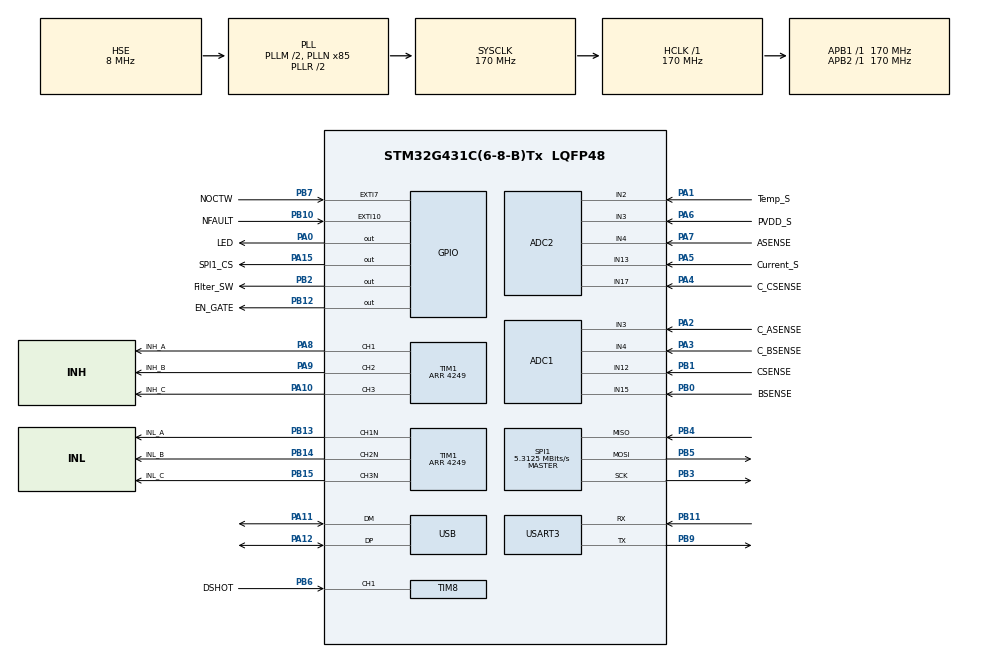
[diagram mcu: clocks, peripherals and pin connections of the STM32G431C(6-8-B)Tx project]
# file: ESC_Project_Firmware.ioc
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ADC1.Channel-0\#ChannelRegularConversion=ADC_CHANNEL_12
ADC1.Channel-1\#ChannelRegularConversion=ADC_CHANNEL_15
ADC1.ContinuousConvMode=ENABLE
ADC1.DMAContinuousRequests=ENABLE
ADC1.EOCSelection=ADC_EOC_SEQ_CONV
ADC1.EnableInjectedConversion=ENABLE
ADC1.EnableInjectedOversampling=ENABLE
ADC1.ExternalTrigInjecConv=ADC_EXTERNALTRIGINJEC_T1_TRGO
ADC1.InjNumberOfConversion=2
ADC1.InjOversamplingRatio=ADC_OVERSAMPLING_RATIO_8
ADC1.InjOversamplingRightShift=ADC_RIGHTBITSHIFT_3
ADC1.InjectedChannel-8\#ChannelInjectedConversion=ADC_CHANNEL_3
ADC1.InjectedChannel-9\#ChannelInjectedConversion=ADC_CHANNEL_4
ADC1.InjectedOffsetNumber-8\#ChannelInjectedConversion=ADC_OFFSET_NONE
ADC1.InjectedOffsetNumber-9\#ChannelInjectedConversion=ADC_OFFSET_NONE
ADC1.InjectedRank-8\#ChannelInjectedConversion=1
ADC1.InjectedRank-9\#ChannelInjectedConversion=2
ADC1.InjectedSamplingTime-8\#ChannelInjectedConversion=ADC_SAMPLETIME_47CYCLES_5
ADC1.InjectedSamplingTime-9\#ChannelInjectedConversion=ADC_SAMPLETIME_47CYCLES_5
ADC1.NbrOfConversion=2
ADC1.NbrOfConversionFlag=1
ADC1.OffsetNumber-0\#ChannelRegularConversion=ADC_OFFSET_NONE
ADC1.OffsetNumber-1\#ChannelRegularConversion=ADC_OFFSET_NONE
ADC1.OversamplingMode=DISABLE
ADC1.Rank-0\#ChannelRegularConversion=1
ADC1.Rank-1\#ChannelRegularConversion=2
ADC1.Rank1_Channel=ADC_CHANNEL_3
ADC1.Rank2_Channel=ADC_CHANNEL_4
ADC1.SamplingTime-0\#ChannelRegularConversion=ADC_SAMPLETIME_47CYCLES_5
ADC1.SamplingTime-1\#ChannelRegularConversion=ADC_SAMPLETIME_47CYCLES_5
ADC1.master=1
ADC2.Channel-0\#ChannelRegularConversion=ADC_CHANNEL_2
ADC2.Channel-11\#ChannelRegularConversion=ADC_CHANNEL_13
ADC2.Channel-5\#ChannelRegularConversion=ADC_CHANNEL_3
ADC2.Channel-6\#ChannelRegularConversion=ADC_CHANNEL_4
ADC2.ContinuousConvMode=ENABLE
ADC2.DMAContinuousRequests=ENABLE
ADC2.EOCSelection=ADC_EOC_SEQ_CONV
ADC2.EnableInjectedConversion=DISABLE
ADC2.EnableInjectedOversampling=DISABLE
ADC2.NbrOfConversion=4
ADC2.NbrOfConversionFlag=1
ADC2.OffsetNumber-0\#ChannelRegularConversion=ADC_OFFSET_NONE
ADC2.OffsetNumber-11\#ChannelRegularConversion=ADC_OFFSET_NONE
ADC2.OffsetNumber-5\#ChannelRegularConversion=ADC_OFFSET_NONE
ADC2.OffsetNumber-6\#ChannelRegularConversion=ADC_OFFSET_NONE
ADC2.Rank-0\#ChannelRegularConversion=1
ADC2.Rank-11\#ChannelRegularConversion=4
ADC2.Rank-5\#ChannelRegularConversion=2
ADC2.Rank-6\#ChannelRegularConversion=3
ADC2.Rank1_Channel=ADC_CHANNEL_17
ADC2.SamplingTime-0\#ChannelRegularConversion=ADC_SAMPLETIME_47CYCLES_5
ADC2.SamplingTime-11\#ChannelRegularConversion=ADC_SAMPLETIME_47CYCLES_5
ADC2.SamplingTime-5\#ChannelRegularConversion=ADC_SAMPLETIME_47CYCLES_5
ADC2.SamplingTime-6\#ChannelRegularConversion=ADC_SAMPLETIME_47CYCLES_5
Dma.ADC1.0.Direction=DMA_PERIPH_TO_MEMORY
Dma.ADC1.0.EventEnable=DISABLE
Dma.ADC1.0.Instance=DMA1_Channel1
Dma.ADC1.0.MemDataAlignment=DMA_MDATAALIGN_HALFWORD
Dma.ADC1.0.MemInc=DMA_MINC_ENABLE
Dma.ADC1.0.Mode=DMA_CIRCULAR
Dma.ADC1.0.PeriphDataAlignment=DMA_PDATAALIGN_HALFWORD
Dma.ADC1.0.PeriphInc=DMA_PINC_DISABLE
Dma.ADC1.0.Polarity=HAL_DMAMUX_REQ_GEN_RISING
Dma.ADC1.0.Priority=DMA_PRIORITY_HIGH
Dma.ADC1.0.RequestNumber=1
Dma.ADC1.0.SignalID=NONE
Dma.ADC1.0.SyncEnable=DISABLE
Dma.ADC1.0.SyncPolarity=HAL_DMAMUX_SYNC_NO_EVENT
Dma.ADC1.0.SyncRequestNumber=1
Dma.ADC1.0.SyncSignalID=NONE
Dma.ADC2.3.Direction=DMA_PERIPH_TO_MEMORY
Dma.ADC2.3.EventEnable=DISABLE
Dma.ADC2.3.Instance=DMA1_Channel2
Dma.ADC2.3.MemDataAlignment=DMA_MDATAALIGN_HALFWORD
Dma.ADC2.3.MemInc=DMA_MINC_ENABLE
Dma.ADC2.3.Mode=DMA_CIRCULAR
Dma.ADC2.3.PeriphDataAlignment=DMA_PDATAALIGN_HALFWORD
Dma.ADC2.3.PeriphInc=DMA_PINC_DISABLE
Dma.ADC2.3.Polarity=HAL_DMAMUX_REQ_GEN_RISING
Dma.ADC2.3.Priority=DMA_PRIORITY_MEDIUM
Dma.ADC2.3.RequestNumber=1
Dma.ADC2.3.SignalID=NONE
Dma.ADC2.3.SyncEnable=DISABLE
Dma.ADC2.3.SyncPolarity=HAL_DMAMUX_SYNC_NO_EVENT
Dma.ADC2.3.SyncRequestNumber=1
Dma.ADC2.3.SyncSignalID=NONE
Dma.Request0=ADC1
Dma.Request1=USART3_TX
Dma.Request2=USART3_RX
Dma.Request3=ADC2
Dma.USART3_RX.2.Direction=DMA_PERIPH_TO_MEMORY
Dma.USART3_RX.2.EventEnable=DISABLE
Dma.USART3_RX.2.Instance=DMA1_Channel4
Dma.USART3_RX.2.MemDataAlignment=DMA_MDATAALIGN_BYTE
Dma.USART3_RX.2.MemInc=DMA_MINC_ENABLE
Dma.USART3_RX.2.Mode=DMA_CIRCULAR
Dma.USART3_RX.2.PeriphDataAlignment=DMA_PDATAALIGN_BYTE
Dma.USART3_RX.2.PeriphInc=DMA_PINC_DISABLE
Dma.USART3_RX.2.Polarity=HAL_DMAMUX_REQ_GEN_RISING
Dma.USART3_RX.2.Priority=DMA_PRIORITY_MEDIUM
Dma.USART3_RX.2.RequestNumber=1
Dma.USART3_RX.2.SignalID=NONE
Dma.USART3_RX.2.SyncEnable=DISABLE
Dma.USART3_RX.2.SyncPolarity=HAL_DMAMUX_SYNC_NO_EVENT
Dma.USART3_RX.2.SyncRequestNumber=1
Dma.USART3_RX.2.SyncSignalID=NONE
Dma.USART3_TX.1.Direction=DMA_MEMORY_TO_PERIPH
Dma.USART3_TX.1.EventEnable=DISABLE
Dma.USART3_TX.1.Instance=DMA1_Channel3
Dma.USART3_TX.1.MemDataAlignment=DMA_MDATAALIGN_BYTE
Dma.USART3_TX.1.MemInc=DMA_MINC_ENABLE
Dma.USART3_TX.1.Mode=DMA_NORMAL
Dma.USART3_TX.1.PeriphDataAlignment=DMA_PDATAALIGN_BYTE
Dma.USART3_TX.1.PeriphInc=DMA_PINC_DISABLE
Dma.USART3_TX.1.Polarity=HAL_DMAMUX_REQ_GEN_RISING
Dma.USART3_TX.1.Priority=DMA_PRIORITY_LOW
Dma.USART3_TX.1.RequestNumber=1
Dma.USART3_TX.1.SignalID=NONE
Dma.USART3_TX.1.SyncEnable=DISABLE
Dma.USART3_TX.1.SyncPolarity=HAL_DMAMUX_SYNC_NO_EVENT
Dma.USART3_TX.1.SyncRequestNumber=1
Dma.USART3_TX.1.SyncSignalID=NONE
Mcu.Family=STM32G4
Mcu.Name=STM32G431C(6-8-B)Tx
Mcu.Package=LQFP48
NVIC.ADC1_2_IRQn=true\:0\:0\:false\:false\:true\:true\:true\:true
NVIC.DMA1_Channel1_IRQn=true\:0\:0\:false\:false\:true\:false\:true\:true
NVIC.DMA1_Channel2_IRQn=true\:0\:0\:false\:false\:true\:false\:true\:true
NVIC.DMA1_Channel3_IRQn=true\:0\:0\:false\:false\:true\:false\:true\:true
NVIC.DMA1_Channel4_IRQn=true\:0\:0\:false\:false\:true\:false\:true\:true
NVIC.PriorityGroup=NVIC_PRIORITYGROUP_4
NVIC.TIM6_DAC_IRQn=true\:0\:0\:false\:false\:true\:true\:true\:true
NVIC.USART3_IRQn=true\:0\:0\:false\:false\:true\:false\:true\:true
PA0.GPIO_Label=LED
PA0.Signal=GPIO_Output
PA1.GPIO_Label=Temp_S
PA1.Mode=IN2-Single-Ended
PA1.Signal=ADC2_IN2
PA10.GPIO_Label=INH_C
PA10.GPIO_Speed=GPIO_SPEED_FREQ_HIGH
PA10.Signal=S_TIM1_CH3
PA11.Mode=Device
PA11.Signal=USB_DM
PA12.Mode=Device
PA12.Signal=USB_DP
PA13.Mode=Serial_Wire
PA13.Signal=SYS_JTMS-SWDIO
PA14.Mode=Serial_Wire
PA14.Signal=SYS_JTCK-SWCLK
PA15.GPIO_Label=SPI1_CS
PA15.GPIO_Speed=GPIO_SPEED_FREQ_HIGH
PA15.Signal=GPIO_Output
PA2.GPIO_Label=C_ASENSE
PA2.Mode=IN3-Single-Ended
PA2.Signal=ADC1_IN3
PA3.GPIO_Label=C_BSENSE
PA3.Mode=IN4-Single-Ended
PA3.Signal=ADC1_IN4
PA4.GPIO_Label=C_CSENSE
PA4.Mode=IN17-Single-Ended
PA4.Signal=ADC2_IN17
PA5.GPIO_Label=Current_S
PA5.Mode=IN13-Single-Ended
PA5.Signal=ADC2_IN13
PA6.GPIO_Label=PVDD_S
PA6.Mode=IN3-Single-Ended
PA6.Signal=ADC2_IN3
PA7.GPIO_Label=ASENSE
PA7.Mode=IN4-Single-Ended
PA7.Signal=ADC2_IN4
PA8.GPIO_Label=INH_A
PA8.GPIO_Speed=GPIO_SPEED_FREQ_HIGH
PA8.Signal=S_TIM1_CH1
PA9.GPIO_Label=INH_B
PA9.GPIO_Speed=GPIO_SPEED_FREQ_HIGH
PA9.Signal=S_TIM1_CH2
PB0.GPIO_Label=BSENSE
PB0.Mode=IN15-Single-Ended
PB0.Signal=ADC1_IN15
PB1.GPIO_Label=CSENSE
PB1.Mode=IN12-Single-Ended
PB1.Signal=ADC1_IN12
PB10.GPIO_Label=NFAULT
PB10.Signal=GPXTI10
PB11.Mode=Asynchronous
PB11.Signal=USART3_RX
PB12.GPIO_Label=EN_GATE
PB12.Signal=GPIO_Output
PB13.GPIO_Label=INL_A
PB13.Mode=PWM Generation1 CH1 CH1N
PB13.Signal=TIM1_CH1N
PB14.GPIO_Label=INL_B
PB14.GPIO_Speed=GPIO_SPEED_FREQ_HIGH
PB14.Mode=PWM Generation2 CH2 CH2N
PB14.Signal=TIM1_CH2N
PB15.GPIO_Label=INL_C
PB15.GPIO_Speed=GPIO_SPEED_FREQ_HIGH
PB15.Mode=PWM Generation3 CH3 CH3N
PB15.Signal=TIM1_CH3N
PB2.GPIO_Label=Filter_SW
PB2.Signal=GPIO_Output
PB3.GPIO_Speed=GPIO_SPEED_FREQ_HIGH
PB3.Mode=Full_Duplex_Master
PB3.Signal=SPI1_SCK
PB4.GPIO_Speed=GPIO_SPEED_FREQ_HIGH
PB4.Mode=Full_Duplex_Master
PB4.Signal=SPI1_MISO
PB5.GPIO_Speed=GPIO_SPEED_FREQ_HIGH
PB5.Mode=Full_Duplex_Master
PB5.Signal=SPI1_MOSI
PB6.GPIO_Label=DSHOT
PB6.Signal=S_TIM8_CH1
PB7.GPIO_Label=NOCTW
PB7.GPIO_ModeDefaultEXTI=GPIO_MODE_IT_FALLING
PB7.Signal=GPXTI7
PB9.Mode=Asynchronous
PB9.Signal=USART3_TX
PF0-OSC_IN.Mode=HSE-External-Clock-Source
PF0-OSC_IN.Signal=RCC_OSC_IN
ProjectManager.HeapSize=0x200
ProjectManager.StackSize=0x400
ProjectManager.TargetToolchain=STM32CubeIDE
RCC.ADC12Freq_Value=170000000
RCC.AHBFreq_Value=170000000
RCC.APB1Freq_Value=170000000
RCC.APB1TimFreq_Value=170000000
RCC.APB2Freq_Value=170000000
RCC.APB2TimFreq_Value=170000000
RCC.CK48CLockSelection=RCC_USBCLKSOURCE_HSI48
RCC.CortexFreq_Value=170000000
RCC.EXTERNAL_CLOCK_VALUE=12288000
RCC.HCLKFreq_Value=170000000
RCC.HSE_VALUE=8000000
RCC.HSI48_VALUE=48000000
RCC.HSI_VALUE=16000000
RCC.LSE_VALUE=32768
RCC.PLLM=RCC_PLLM_DIV2
RCC.PLLN=85
RCC.PLLSourceVirtual=RCC_PLLSOURCE_HSE
RCC.SYSCLKFreq_VALUE=170000000
RCC.SYSCLKSource=RCC_SYSCLKSOURCE_PLLCLK
RCC.USBFreq_Value=48000000
RCC.VCOOutputFreq_Value=340000000
SH.S_TIM1_CH1.0=TIM1_CH1,PWM Generation1 CH1 CH1N
SH.S_TIM1_CH2.0=TIM1_CH2,PWM Generation2 CH2 CH2N
SH.S_TIM1_CH3.0=TIM1_CH3,PWM Generation3 CH3 CH3N
SH.S_TIM8_CH1.0=TIM8_CH1,Input_Capture1_from_TI1
SPI1.BaudRatePrescaler=SPI_BAUDRATEPRESCALER_32
SPI1.CLKPhase=SPI_PHASE_2EDGE
SPI1.CalculateBaudRate=5.3125 MBits/s
SPI1.DataSize=SPI_DATASIZE_16BIT
SPI1.Direction=SPI_DIRECTION_2LINES
SPI1.Mode=SPI_MODE_MASTER
SPI1.VirtualType=VM_MASTER
TIM1.AutoReloadPreload=TIM_AUTORELOAD_PRELOAD_ENABLE
TIM1.AutomaticOutput=TIM_AUTOMATICOUTPUT_ENABLE
TIM1.Channel-PWM\ Generation1\ CH1\ CH1N=TIM_CHANNEL_1
TIM1.Channel-PWM\ Generation2\ CH2\ CH2N=TIM_CHANNEL_2
TIM1.Channel-PWM\ Generation3\ CH3\ CH3N=TIM_CHANNEL_3
TIM1.CounterMode=TIM_COUNTERMODE_CENTERALIGNED1
TIM1.DeadTime=85
TIM1.PeriodNoDither=4249
TIM1.RepetitionCounter=1
TIM1.TIM_MasterOutputTrigger=TIM_TRGO_UPDATE
TIM6.AutoReloadPreload=TIM_AUTORELOAD_PRELOAD_ENABLE
TIM6.PeriodNoDither=128
TIM6.Prescaler=169
TIM8.Channel-Input_Capture1_from_TI1=TIM_CHANNEL_1
USART3.VirtualMode-Asynchronous=VM_ASYNC
VP_SYS_VS_DBSignals.Mode=DisableDeadBatterySignals
VP_TIM1_VS_ClockSourceINT.Mode=Internal
VP_TIM6_VS_ClockSourceINT.Mode=Enable_Timer
board=custom

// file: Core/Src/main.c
/* USER CODE BEGIN Header */
/**
  ******************************************************************************
  * @file           : main.c
  * @brief          : Main program body
  ******************************************************************************
  * @attention
  *
  * Copyright (c) 2026 STMicroelectronics.
  * All rights reserved.
  *
  * This software is licensed under terms that can be found in the LICENSE file
  * in the root directory of this software component.
  * If no LICENSE file comes with this software, it is provided AS-IS.
  *
  ******************************************************************************
  */
/* USER CODE END Header */
#include "main.h"

/* USER CODE BEGIN Includes */
#include "app.h"
#include "sensor.h"
/* USER CODE END Includes */

ADC_HandleTypeDef hadc1;
ADC_HandleTypeDef hadc2;
DMA_HandleTypeDef hdma_adc1;
DMA_HandleTypeDef hdma_adc2;

SPI_HandleTypeDef hspi1;

TIM_HandleTypeDef htim1;
TIM_HandleTypeDef htim6;
TIM_HandleTypeDef htim8;

UART_HandleTypeDef huart3;
DMA_HandleTypeDef hdma_usart3_tx;
DMA_HandleTypeDef hdma_usart3_rx;

PCD_HandleTypeDef hpcd_USB_FS;

/* USER CODE BEGIN PV */

TIM_HandleTypeDef htim17;   // <-- Define here
volatile uint16_t adc1_buffer[2]; // ADC1	[4,11,12,15]
volatile uint16_t adc2_buffer[4]; // ADC2	[3,4,12,13,17
volatile int32_t c_asense_adc = 0;
volatile int32_t c_bsense_adc = 0;
volatile int32_t c_csense_adc = 0;

uint16_t voltage_a = 0;
uint16_t voltage_b = 0;
uint16_t voltage_c = 0;
int16_t current_a = 0;
int16_t current_b = 0;
int16_t current_c = 0;
int16_t temperature = 0;
int16_t bus_voltage = 0;
int16_t total_current = 0;

volatile uint8_t updateFlag = 0;

/* USER CODE END PV */

void SystemClock_Config(void);
static void MX_GPIO_Init(void);
static void MX_DMA_Init(void);
static void MX_ADC1_Init(void);
static void MX_ADC2_Init(void);
static void MX_SPI1_Init(void);
static void MX_TIM1_Init(void);
static void MX_USART3_UART_Init(void);
static void MX_TIM8_Init(void);
static void MX_USB_PCD_Init(void);
static void MX_TIM6_Init(void);

int main(void)
{

  /* MCU Configuration--------------------------------------------------------*/

  /* Reset of all peripherals, Initializes the Flash interface and the Systick. */
  HAL_Init();

  /* Configure the system clock */
  SystemClock_Config();

  /* Initialize all configured peripherals */
  MX_GPIO_Init();
  MX_DMA_Init();
  MX_ADC1_Init();
  MX_ADC2_Init();
  MX_SPI1_Init();
  MX_TIM1_Init();
  MX_USART3_UART_Init();
  MX_TIM8_Init();
  MX_USB_PCD_Init();
  MX_TIM6_Init();
  /* USER CODE BEGIN 2 */
  //HAL_ADCEx_Calibration_Start(&hadc1, ADC_SINGLE_ENDED);
  //HAL_ADCEx_Calibration_Start(&hadc2, ADC_SINGLE_ENDED);
  App_Setup();
  /* USER CODE END 2 */

  /* Infinite loop */
  while (1)
  {

    /* USER CODE BEGIN 3 */
	  App_Main_Loop();
  }
  /* USER CODE END 3 */
}

void SystemClock_Config(void)
{
  RCC_OscInitTypeDef RCC_OscInitStruct = {0};
  RCC_ClkInitTypeDef RCC_ClkInitStruct = {0};

  /** Configure the main internal regulator output voltage
  */
  HAL_PWREx_ControlVoltageScaling(PWR_REGULATOR_VOLTAGE_SCALE1_BOOST);

  /** Initializes the RCC Oscillators according to the specified parameters
  * in the RCC_OscInitTypeDef structure.
  */
  RCC_OscInitStruct.OscillatorType = RCC_OSCILLATORTYPE_HSI48|RCC_OSCILLATORTYPE_HSE;
  RCC_OscInitStruct.HSEState = RCC_HSE_BYPASS;
  RCC_OscInitStruct.HSI48State = RCC_HSI48_ON;
  RCC_OscInitStruct.PLL.PLLState = RCC_PLL_ON;
  RCC_OscInitStruct.PLL.PLLSource = RCC_PLLSOURCE_HSE;
  RCC_OscInitStruct.PLL.PLLM = RCC_PLLM_DIV2;
  RCC_OscInitStruct.PLL.PLLN = 85;
  RCC_OscInitStruct.PLL.PLLP = RCC_PLLP_DIV2;
  RCC_OscInitStruct.PLL.PLLQ = RCC_PLLQ_DIV2;
  RCC_OscInitStruct.PLL.PLLR = RCC_PLLR_DIV2;
  if (HAL_RCC_OscConfig(&RCC_OscInitStruct) != HAL_OK)
  {
    Error_Handler();
  }

  /** Initializes the CPU, AHB and APB buses clocks
  */
  RCC_ClkInitStruct.ClockType = RCC_CLOCKTYPE_HCLK|RCC_CLOCKTYPE_SYSCLK
                              |RCC_CLOCKTYPE_PCLK1|RCC_CLOCKTYPE_PCLK2;
  RCC_ClkInitStruct.SYSCLKSource = RCC_SYSCLKSOURCE_PLLCLK;
  RCC_ClkInitStruct.AHBCLKDivider = RCC_SYSCLK_DIV1;
  RCC_ClkInitStruct.APB1CLKDivider = RCC_HCLK_DIV1;
  RCC_ClkInitStruct.APB2CLKDivider = RCC_HCLK_DIV1;

  if (HAL_RCC_ClockConfig(&RCC_ClkInitStruct, FLASH_LATENCY_4) != HAL_OK)
  {
    Error_Handler();
  }
}

static void MX_ADC1_Init(void)
{

  ADC_MultiModeTypeDef multimode = {0};
  ADC_ChannelConfTypeDef sConfig = {0};
  ADC_InjectionConfTypeDef sConfigInjected = {0};

  /** Common config
  */
  hadc1.Instance = ADC1;
  hadc1.Init.ClockPrescaler = ADC_CLOCK_SYNC_PCLK_DIV4;
  hadc1.Init.Resolution = ADC_RESOLUTION_12B;
  hadc1.Init.DataAlign = ADC_DATAALIGN_RIGHT;
  hadc1.Init.GainCompensation = 0;
  hadc1.Init.ScanConvMode = ADC_SCAN_ENABLE;
  hadc1.Init.EOCSelection = ADC_EOC_SEQ_CONV;
  hadc1.Init.LowPowerAutoWait = DISABLE;
  hadc1.Init.ContinuousConvMode = ENABLE;
  hadc1.Init.NbrOfConversion = 2;
  hadc1.Init.DiscontinuousConvMode = DISABLE;
  hadc1.Init.ExternalTrigConv = ADC_SOFTWARE_START;
  hadc1.Init.ExternalTrigConvEdge = ADC_EXTERNALTRIGCONVEDGE_NONE;
  hadc1.Init.DMAContinuousRequests = ENABLE;
  hadc1.Init.Overrun = ADC_OVR_DATA_PRESERVED;
  hadc1.Init.OversamplingMode = DISABLE;
  if (HAL_ADC_Init(&hadc1) != HAL_OK)
  {
    Error_Handler();
  }

  /** Configure the ADC multi-mode
  */
  multimode.Mode = ADC_MODE_INDEPENDENT;
  if (HAL_ADCEx_MultiModeConfigChannel(&hadc1, &multimode) != HAL_OK)
  {
    Error_Handler();
  }

  /** Configure Regular Channel
  */
  sConfig.Channel = ADC_CHANNEL_12;
  sConfig.Rank = ADC_REGULAR_RANK_1;
  sConfig.SamplingTime = ADC_SAMPLETIME_47CYCLES_5;
  sConfig.SingleDiff = ADC_SINGLE_ENDED;
  sConfig.OffsetNumber = ADC_OFFSET_NONE;
  sConfig.Offset = 0;
  if (HAL_ADC_ConfigChannel(&hadc1, &sConfig) != HAL_OK)
  {
    Error_Handler();
  }

  /** Configure Regular Channel
  */
  sConfig.Channel = ADC_CHANNEL_15;
  sConfig.Rank = ADC_REGULAR_RANK_2;
  if (HAL_ADC_ConfigChannel(&hadc1, &sConfig) != HAL_OK)
  {
    Error_Handler();
  }

  /** Configure Injected Channel
  */
  sConfigInjected.InjectedChannel = ADC_CHANNEL_3;
  sConfigInjected.InjectedRank = ADC_INJECTED_RANK_1;
  sConfigInjected.InjectedSamplingTime = ADC_SAMPLETIME_47CYCLES_5;
  sConfigInjected.InjectedSingleDiff = ADC_SINGLE_ENDED;
  sConfigInjected.InjectedOffsetNumber = ADC_OFFSET_NONE;
  sConfigInjected.InjectedOffset = 0;
  sConfigInjected.InjectedNbrOfConversion = 2;
  sConfigInjected.InjectedDiscontinuousConvMode = DISABLE;
  sConfigInjected.AutoInjectedConv = DISABLE;
  sConfigInjected.QueueInjectedContext = DISABLE;
  sConfigInjected.ExternalTrigInjecConv = ADC_EXTERNALTRIGINJEC_T1_TRGO;
  sConfigInjected.ExternalTrigInjecConvEdge = ADC_EXTERNALTRIGINJECCONV_EDGE_RISING;
  sConfigInjected.InjecOversamplingMode = ENABLE;
  sConfigInjected.InjecOversampling.Ratio = ADC_OVERSAMPLING_RATIO_8;
  sConfigInjected.InjecOversampling.RightBitShift = ADC_RIGHTBITSHIFT_3;
  if (HAL_ADCEx_InjectedConfigChannel(&hadc1, &sConfigInjected) != HAL_OK)
  {
    Error_Handler();
  }

  /** Configure Injected Channel
  */
  sConfigInjected.InjectedChannel = ADC_CHANNEL_4;
  sConfigInjected.InjectedRank = ADC_INJECTED_RANK_2;
  if (HAL_ADCEx_InjectedConfigChannel(&hadc1, &sConfigInjected) != HAL_OK)
  {
    Error_Handler();
  }

}

static void MX_ADC2_Init(void)
{

  ADC_ChannelConfTypeDef sConfig = {0};

  /** Common config
  */
  hadc2.Instance = ADC2;
  hadc2.Init.ClockPrescaler = ADC_CLOCK_SYNC_PCLK_DIV4;
  hadc2.Init.Resolution = ADC_RESOLUTION_12B;
  hadc2.Init.DataAlign = ADC_DATAALIGN_RIGHT;
  hadc2.Init.GainCompensation = 0;
  hadc2.Init.ScanConvMode = ADC_SCAN_ENABLE;
  hadc2.Init.EOCSelection = ADC_EOC_SEQ_CONV;
  hadc2.Init.LowPowerAutoWait = DISABLE;
  hadc2.Init.ContinuousConvMode = ENABLE;
  hadc2.Init.NbrOfConversion = 4;
  hadc2.Init.DiscontinuousConvMode = DISABLE;
  hadc2.Init.ExternalTrigConv = ADC_SOFTWARE_START;
  hadc2.Init.ExternalTrigConvEdge = ADC_EXTERNALTRIGCONVEDGE_NONE;
  hadc2.Init.DMAContinuousRequests = ENABLE;
  hadc2.Init.Overrun = ADC_OVR_DATA_PRESERVED;
  hadc2.Init.OversamplingMode = DISABLE;
  if (HAL_ADC_Init(&hadc2) != HAL_OK)
  {
    Error_Handler();
  }

  /** Configure Regular Channel
  */
  sConfig.Channel = ADC_CHANNEL_2;
  sConfig.Rank = ADC_REGULAR_RANK_1;
  sConfig.SamplingTime = ADC_SAMPLETIME_47CYCLES_5;
  sConfig.SingleDiff = ADC_SINGLE_ENDED;
  sConfig.OffsetNumber = ADC_OFFSET_NONE;
  sConfig.Offset = 0;
  if (HAL_ADC_ConfigChannel(&hadc2, &sConfig) != HAL_OK)
  {
    Error_Handler();
  }

  /** Configure Regular Channel
  */
  sConfig.Channel = ADC_CHANNEL_3;
  sConfig.Rank = ADC_REGULAR_RANK_2;
  if (HAL_ADC_ConfigChannel(&hadc2, &sConfig) != HAL_OK)
  {
    Error_Handler();
  }

  /** Configure Regular Channel
  */
  sConfig.Channel = ADC_CHANNEL_4;
  sConfig.Rank = ADC_REGULAR_RANK_3;
  if (HAL_ADC_ConfigChannel(&hadc2, &sConfig) != HAL_OK)
  {
    Error_Handler();
  }

  /** Configure Regular Channel
  */
  sConfig.Channel = ADC_CHANNEL_13;
  sConfig.Rank = ADC_REGULAR_RANK_4;
  if (HAL_ADC_ConfigChannel(&hadc2, &sConfig) != HAL_OK)
  {
    Error_Handler();
  }

}

static void MX_SPI1_Init(void)
{

  /* SPI1 parameter configuration*/
  hspi1.Instance = SPI1;
  hspi1.Init.Mode = SPI_MODE_MASTER;
  hspi1.Init.Direction = SPI_DIRECTION_2LINES;
  hspi1.Init.DataSize = SPI_DATASIZE_16BIT;
  hspi1.Init.CLKPolarity = SPI_POLARITY_LOW;
  hspi1.Init.CLKPhase = SPI_PHASE_2EDGE;
  hspi1.Init.NSS = SPI_NSS_SOFT;
  hspi1.Init.BaudRatePrescaler = SPI_BAUDRATEPRESCALER_32;
  hspi1.Init.FirstBit = SPI_FIRSTBIT_MSB;
  hspi1.Init.TIMode = SPI_TIMODE_DISABLE;
  hspi1.Init.CRCCalculation = SPI_CRCCALCULATION_DISABLE;
  hspi1.Init.CRCPolynomial = 7;
  hspi1.Init.CRCLength = SPI_CRC_LENGTH_DATASIZE;
  hspi1.Init.NSSPMode = SPI_NSS_PULSE_DISABLE;
  if (HAL_SPI_Init(&hspi1) != HAL_OK)
  {
    Error_Handler();
  }

}

static void MX_TIM1_Init(void)
{

  TIM_ClockConfigTypeDef sClockSourceConfig = {0};
  TIM_MasterConfigTypeDef sMasterConfig = {0};
  TIM_OC_InitTypeDef sConfigOC = {0};
  TIM_BreakDeadTimeConfigTypeDef sBreakDeadTimeConfig = {0};

  htim1.Instance = TIM1;
  htim1.Init.Prescaler = 0;
  htim1.Init.CounterMode = TIM_COUNTERMODE_CENTERALIGNED1;
  htim1.Init.Period = 4249;
  htim1.Init.ClockDivision = TIM_CLOCKDIVISION_DIV1;
  htim1.Init.RepetitionCounter = 1;
  htim1.Init.AutoReloadPreload = TIM_AUTORELOAD_PRELOAD_ENABLE;
  if (HAL_TIM_Base_Init(&htim1) != HAL_OK)
  {
    Error_Handler();
  }
  sClockSourceConfig.ClockSource = TIM_CLOCKSOURCE_INTERNAL;
  if (HAL_TIM_ConfigClockSource(&htim1, &sClockSourceConfig) != HAL_OK)
  {
    Error_Handler();
  }
  if (HAL_TIM_PWM_Init(&htim1) != HAL_OK)
  {
    Error_Handler();
  }
  sMasterConfig.MasterOutputTrigger = TIM_TRGO_UPDATE;
  sMasterConfig.MasterOutputTrigger2 = TIM_TRGO2_RESET;
  sMasterConfig.MasterSlaveMode = TIM_MASTERSLAVEMODE_DISABLE;
  if (HAL_TIMEx_MasterConfigSynchronization(&htim1, &sMasterConfig) != HAL_OK)
  {
    Error_Handler();
  }
  sConfigOC.OCMode = TIM_OCMODE_PWM1;
  sConfigOC.Pulse = 0;
  sConfigOC.OCPolarity = TIM_OCPOLARITY_HIGH;
  sConfigOC.OCNPolarity = TIM_OCNPOLARITY_HIGH;
  sConfigOC.OCFastMode = TIM_OCFAST_DISABLE;
  sConfigOC.OCIdleState = TIM_OCIDLESTATE_RESET;
  sConfigOC.OCNIdleState = TIM_OCNIDLESTATE_RESET;
  if (HAL_TIM_PWM_ConfigChannel(&htim1, &sConfigOC, TIM_CHANNEL_1) != HAL_OK)
  {
    Error_Handler();
  }
  if (HAL_TIM_PWM_ConfigChannel(&htim1, &sConfigOC, TIM_CHANNEL_2) != HAL_OK)
  {
    Error_Handler();
  }
  if (HAL_TIM_PWM_ConfigChannel(&htim1, &sConfigOC, TIM_CHANNEL_3) != HAL_OK)
  {
    Error_Handler();
  }
  sBreakDeadTimeConfig.OffStateRunMode = TIM_OSSR_DISABLE;
  sBreakDeadTimeConfig.OffStateIDLEMode = TIM_OSSI_DISABLE;
  sBreakDeadTimeConfig.LockLevel = TIM_LOCKLEVEL_OFF;
  sBreakDeadTimeConfig.DeadTime = 85;
  sBreakDeadTimeConfig.BreakState = TIM_BREAK_DISABLE;
  sBreakDeadTimeConfig.BreakPolarity = TIM_BREAKPOLARITY_HIGH;
  sBreakDeadTimeConfig.BreakFilter = 0;
  sBreakDeadTimeConfig.BreakAFMode = TIM_BREAK_AFMODE_INPUT;
  sBreakDeadTimeConfig.Break2State = TIM_BREAK2_DISABLE;
  sBreakDeadTimeConfig.Break2Polarity = TIM_BREAK2POLARITY_HIGH;
  sBreakDeadTimeConfig.Break2Filter = 0;
  sBreakDeadTimeConfig.Break2AFMode = TIM_BREAK_AFMODE_INPUT;
  sBreakDeadTimeConfig.AutomaticOutput = TIM_AUTOMATICOUTPUT_ENABLE;
  if (HAL_TIMEx_ConfigBreakDeadTime(&htim1, &sBreakDeadTimeConfig) != HAL_OK)
  {
    Error_Handler();
  }
  HAL_TIM_MspPostInit(&htim1);

}

static void MX_TIM6_Init(void)
{

  TIM_MasterConfigTypeDef sMasterConfig = {0};

  htim6.Instance = TIM6;
  htim6.Init.Prescaler = 169;
  htim6.Init.CounterMode = TIM_COUNTERMODE_UP;
  htim6.Init.Period = 128;
  htim6.Init.AutoReloadPreload = TIM_AUTORELOAD_PRELOAD_ENABLE;
  if (HAL_TIM_Base_Init(&htim6) != HAL_OK)
  {
    Error_Handler();
  }
  sMasterConfig.MasterOutputTrigger = TIM_TRGO_RESET;
  sMasterConfig.MasterSlaveMode = TIM_MASTERSLAVEMODE_DISABLE;
  if (HAL_TIMEx_MasterConfigSynchronization(&htim6, &sMasterConfig) != HAL_OK)
  {
    Error_Handler();
  }

}

static void MX_TIM8_Init(void)
{

  TIM_MasterConfigTypeDef sMasterConfig = {0};
  TIM_IC_InitTypeDef sConfigIC = {0};

  htim8.Instance = TIM8;
  htim8.Init.Prescaler = 0;
  htim8.Init.CounterMode = TIM_COUNTERMODE_UP;
  htim8.Init.Period = 65535;
  htim8.Init.ClockDivision = TIM_CLOCKDIVISION_DIV1;
  htim8.Init.RepetitionCounter = 0;
  htim8.Init.AutoReloadPreload = TIM_AUTORELOAD_PRELOAD_DISABLE;
  if (HAL_TIM_IC_Init(&htim8) != HAL_OK)
  {
    Error_Handler();
  }
  sMasterConfig.MasterOutputTrigger = TIM_TRGO_RESET;
  sMasterConfig.MasterOutputTrigger2 = TIM_TRGO2_RESET;
  sMasterConfig.MasterSlaveMode = TIM_MASTERSLAVEMODE_DISABLE;
  if (HAL_TIMEx_MasterConfigSynchronization(&htim8, &sMasterConfig) != HAL_OK)
  {
    Error_Handler();
  }
  sConfigIC.ICPolarity = TIM_INPUTCHANNELPOLARITY_RISING;
  sConfigIC.ICSelection = TIM_ICSELECTION_DIRECTTI;
  sConfigIC.ICPrescaler = TIM_ICPSC_DIV1;
  sConfigIC.ICFilter = 0;
  if (HAL_TIM_IC_ConfigChannel(&htim8, &sConfigIC, TIM_CHANNEL_1) != HAL_OK)
  {
    Error_Handler();
  }

}

static void MX_USART3_UART_Init(void)
{

  huart3.Instance = USART3;
  huart3.Init.BaudRate = 115200;
  huart3.Init.WordLength = UART_WORDLENGTH_8B;
  huart3.Init.StopBits = UART_STOPBITS_1;
  huart3.Init.Parity = UART_PARITY_NONE;
  huart3.Init.Mode = UART_MODE_TX_RX;
  huart3.Init.HwFlowCtl = UART_HWCONTROL_NONE;
  huart3.Init.OverSampling = UART_OVERSAMPLING_16;
  huart3.Init.OneBitSampling = UART_ONE_BIT_SAMPLE_DISABLE;
  huart3.Init.ClockPrescaler = UART_PRESCALER_DIV1;
  huart3.AdvancedInit.AdvFeatureInit = UART_ADVFEATURE_NO_INIT;
  if (HAL_UART_Init(&huart3) != HAL_OK)
  {
    Error_Handler();
  }
  if (HAL_UARTEx_SetTxFifoThreshold(&huart3, UART_TXFIFO_THRESHOLD_1_8) != HAL_OK)
  {
    Error_Handler();
  }
  if (HAL_UARTEx_SetRxFifoThreshold(&huart3, UART_RXFIFO_THRESHOLD_1_8) != HAL_OK)
  {
    Error_Handler();
  }
  if (HAL_UARTEx_DisableFifoMode(&huart3) != HAL_OK)
  {
    Error_Handler();
  }

}

static void MX_USB_PCD_Init(void)
{

  hpcd_USB_FS.Instance = USB;
  hpcd_USB_FS.Init.dev_endpoints = 8;
  hpcd_USB_FS.Init.speed = PCD_SPEED_FULL;
  hpcd_USB_FS.Init.phy_itface = PCD_PHY_EMBEDDED;
  hpcd_USB_FS.Init.Sof_enable = DISABLE;
  hpcd_USB_FS.Init.low_power_enable = DISABLE;
  hpcd_USB_FS.Init.lpm_enable = DISABLE;
  hpcd_USB_FS.Init.battery_charging_enable = DISABLE;
  if (HAL_PCD_Init(&hpcd_USB_FS) != HAL_OK)
  {
    Error_Handler();
  }

}

static void MX_DMA_Init(void)
{

  /* DMA controller clock enable */
  __HAL_RCC_DMAMUX1_CLK_ENABLE();
  __HAL_RCC_DMA1_CLK_ENABLE();

  /* DMA interrupt init */
  /* DMA1_Channel1_IRQn interrupt configuration */
  HAL_NVIC_SetPriority(DMA1_Channel1_IRQn, 0, 0);
  HAL_NVIC_EnableIRQ(DMA1_Channel1_IRQn);
  /* DMA1_Channel2_IRQn interrupt configuration */
  HAL_NVIC_SetPriority(DMA1_Channel2_IRQn, 0, 0);
  HAL_NVIC_EnableIRQ(DMA1_Channel2_IRQn);
  /* DMA1_Channel3_IRQn interrupt configuration */
  HAL_NVIC_SetPriority(DMA1_Channel3_IRQn, 0, 0);
  HAL_NVIC_EnableIRQ(DMA1_Channel3_IRQn);
  /* DMA1_Channel4_IRQn interrupt configuration */
  HAL_NVIC_SetPriority(DMA1_Channel4_IRQn, 0, 0);
  HAL_NVIC_EnableIRQ(DMA1_Channel4_IRQn);

}

static void MX_GPIO_Init(void)
{
  GPIO_InitTypeDef GPIO_InitStruct = {0};

  /* GPIO Ports Clock Enable */
  __HAL_RCC_GPIOF_CLK_ENABLE();
  __HAL_RCC_GPIOA_CLK_ENABLE();
  __HAL_RCC_GPIOB_CLK_ENABLE();

  /*Configure GPIO pin Output Level */
  HAL_GPIO_WritePin(GPIOA, LED_Pin|SPI1_CS_Pin, GPIO_PIN_RESET);

  /*Configure GPIO pin Output Level */
  HAL_GPIO_WritePin(GPIOB, Filter_SW_Pin|EN_GATE_Pin, GPIO_PIN_RESET);

  /*Configure GPIO pin : LED_Pin */
  GPIO_InitStruct.Pin = LED_Pin;
  GPIO_InitStruct.Mode = GPIO_MODE_OUTPUT_PP;
  GPIO_InitStruct.Pull = GPIO_NOPULL;
  GPIO_InitStruct.Speed = GPIO_SPEED_FREQ_LOW;
  HAL_GPIO_Init(LED_GPIO_Port, &GPIO_InitStruct);

  /*Configure GPIO pins : Filter_SW_Pin EN_GATE_Pin */
  GPIO_InitStruct.Pin = Filter_SW_Pin|EN_GATE_Pin;
  GPIO_InitStruct.Mode = GPIO_MODE_OUTPUT_PP;
  GPIO_InitStruct.Pull = GPIO_NOPULL;
  GPIO_InitStruct.Speed = GPIO_SPEED_FREQ_LOW;
  HAL_GPIO_Init(GPIOB, &GPIO_InitStruct);

  /*Configure GPIO pin : NFAULT_Pin */
  GPIO_InitStruct.Pin = NFAULT_Pin;
  GPIO_InitStruct.Mode = GPIO_MODE_IT_RISING;
  GPIO_InitStruct.Pull = GPIO_NOPULL;
  HAL_GPIO_Init(NFAULT_GPIO_Port, &GPIO_InitStruct);

  /*Configure GPIO pin : SPI1_CS_Pin */
  GPIO_InitStruct.Pin = SPI1_CS_Pin;
  GPIO_InitStruct.Mode = GPIO_MODE_OUTPUT_PP;
  GPIO_InitStruct.Pull = GPIO_NOPULL;
  GPIO_InitStruct.Speed = GPIO_SPEED_FREQ_HIGH;
  HAL_GPIO_Init(SPI1_CS_GPIO_Port, &GPIO_InitStruct);

  /*Configure GPIO pin : NOCTW_Pin */
  GPIO_InitStruct.Pin = NOCTW_Pin;
  GPIO_InitStruct.Mode = GPIO_MODE_IT_FALLING;
  GPIO_InitStruct.Pull = GPIO_NOPULL;
  HAL_GPIO_Init(NOCTW_GPIO_Port, &GPIO_InitStruct);

}

void Error_Handler(void)
{
  __disable_irq();
  while (1)
  {
  }
}
